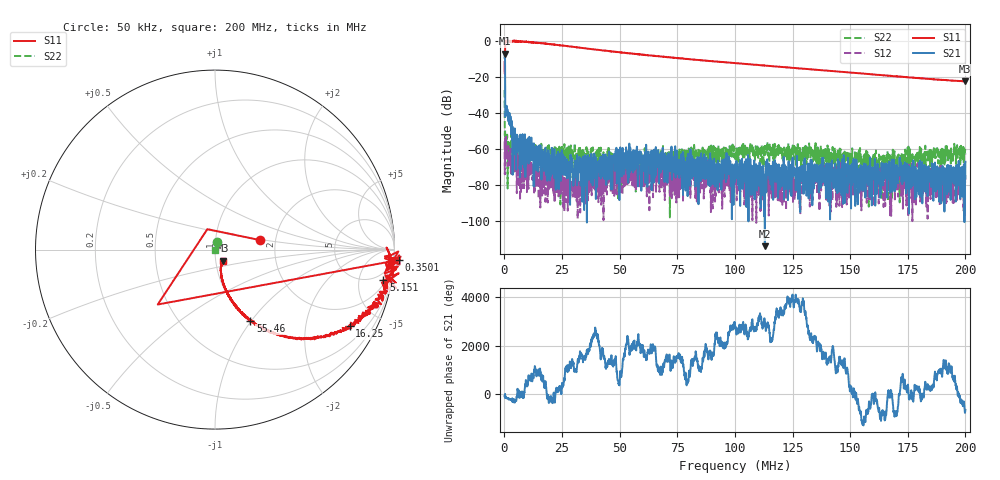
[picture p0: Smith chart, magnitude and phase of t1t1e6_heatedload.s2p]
! 12-May-26 12:33:27 PM
! E:\REC_VNA_20260512\T1T1E6_HEATEDLOAD.S2P
! CHANNEL.1
! TR.MEASUREMENT
! CORRECTED.DATA
# GHZ S RI R 50.0
! FREQ.GHZ  S11RE  S11IM  S21RE  S21IM  S12RE  S12IM  S22RE  S22IM
!; PortSelection: Port_12
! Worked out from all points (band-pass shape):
!   2000 points, 50 kHz to 200 MHz, reference 50 ohm
!   highest |S21| = -6.97 dB at 150 kHz (marker M1); lowest = -114.1 dB at 113 MHz (marker M2)
!   |S21| within 3 dB of the highest: start of sweep to 221.9 kHz
!   lowest |S11| = -22.5 dB at 199.9 MHz (marker M3), VSWR 1.16, Z = 54 - j6.73 ohm
!   |S11| at or under -10 dB: start of sweep to 224.1 kHz; 79.092 MHz to 79.32539 MHz (233.4 kHz wide, 0.295 % of centre); 79.51 MHz to end of sweep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
!   |S22| runs from -98.1 to -27.3 dB; largest |S21 - S12| = 0.45
!   S11 on the Smith chart (normalised r, x): 50 kHz: 1.66, +0.19; 350.1 kHz: -13, -30; 5.151 MHz: 3, -10; 16.25 MHz: 1.04, -3.49; 55.46 MHz: 1.00, -0.99; 200 MHz: 1.08, -0.13
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5e-05  0.2526 0.0526  0.1167 -0.3199  0.0016 1.07e-05  0.0105 0.0416
0.000150025  -0.0425 0.114  -0.2201 -0.3905  0.000168 0.000102  0.00227 -0.000618
0.000350075  1.023 -0.0581  -0.00706 -0.00313  -0.000582 0.000594  -0.00184 -0.000205
0.00145035  1.026 -0.0315  -0.0105 -0.00207  0.00029 -0.000159  0.000623 0.000357
0.005151276  0.938 -0.1712  -0.000146 0.00152  0.000431 -0.000365  0.0012 -0.000511
0.01625405  0.7502 -0.4273  0.000663 0.000486  7.59e-05 -0.000262  0.000709 6.18e-05
0.03345835  0.4177 -0.4856  -0.000102 6e-06  -3.6e-05 -5.43e-05  0.00081 0.000349
0.05546386  0.1965 -0.3986  -0.000197 0.00016  -3.63e-05 0.000158  0.00057 0.000135
0.05746436  0.1897 -0.392  0.000102 -0.00115  0.000152 4.87e-05  -5.52e-05 8.14e-05
0.06676668  0.145 -0.3502  0.000392 -0.000282  -9.35e-05 -7.88e-05  0.000401 -0.00013
0.100075  0.0643 -0.2346  0.000255 -0.000269  -0.000145 -3.68e-05  0.000706 0.000169
0.1129782  0.0502 -0.2007  1e-06 1.7e-06  0.000163 0.000129  0.000888 0.000514
0.1333833  0.0374 -0.1568  -0.000281 -0.000168  2.73e-05 -4.97e-05  0.000126 0.000949
0.147887  0.034 -0.1321  0.000296 2.94e-05  4.15e-05 3.43e-05  -0.000645 0.000345
0.1504876  0.0331 -0.1275  0.000134 -0.000136  0.000255 -7.27e-05  6.6e-06 0.000484
0.1532883  0.0332 -0.1235  -2.87e-05 -6e-07  -0.000133 0.000168  -0.000271 0.000332
0.1626907  0.0332 -0.1094  0.000128 -3.34e-05  0.000122 2.29e-05  -0.000249 -0.0001
0.1666917  0.033 -0.1032  1.85e-05 0.000179  -7.13e-05 3.3e-05  -0.000269 9.34e-05
0.1706927  0.034 -0.0967  -9.72e-05 -5.42e-05  7.06e-05 -0.000167  -0.000184 -0.000157
0.1983996  0.0424 -0.0644  0.000236 6.89e-05  0.000106 5.9e-06  0.000408 -0.000403
0.1999  0.0421 -0.062  0.000143 -1.4e-06  4.46e-05 0.000104  0.000918 -0.000229
0.2  0.0429 -0.062  0.000118 0.000422  5.71e-05 -0.000175  0.000703 -6.77e-05
